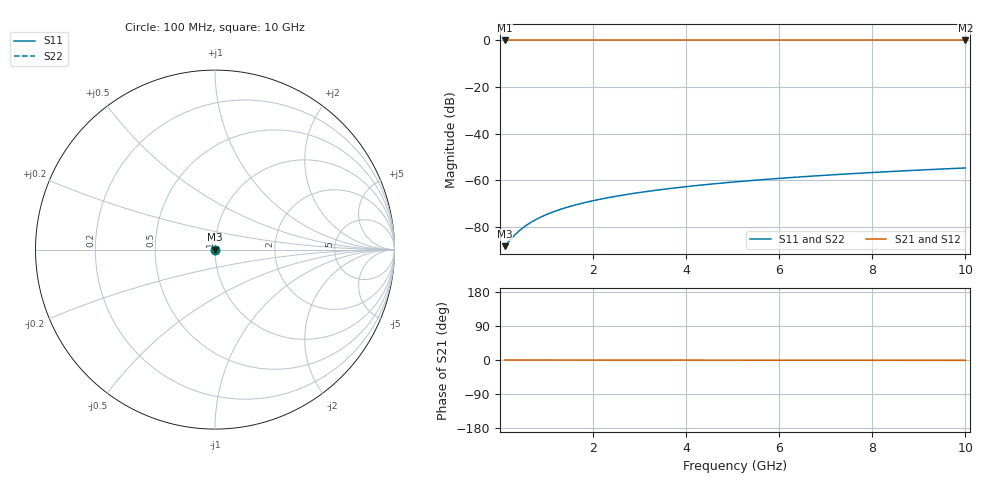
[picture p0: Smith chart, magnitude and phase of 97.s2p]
# Hz S RI R 50.00
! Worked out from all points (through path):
!   100 points, 100 MHz to 10 GHz, reference 50 ohm
!   highest |S21| = 0.00 dB at 100 MHz (marker M1); lowest = 0.0 dB at 10 GHz (marker M2)
!   lowest |S11| = -88.2 dB at 100 MHz (marker M3), VSWR 1.00, Z = 50 - j0.00182 ohm
!   |S11| at or under -10 dB: start of sweep to end of sweep
!   |S22| runs from -88.2 to -54.7 dB; largest |S21 - S12| = 0
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1e8  3.44e-05 -1.82e-05  1 -0.00014  1 -0.00014  3.44e-05 -1.82e-05
5e8  3.47e-05 -9.11e-05  1 -0.000699  1 -0.000699  3.47e-05 -9.11e-05
7e8  3.47e-05 -0.000128  1 -0.000979  1 -0.000979  3.47e-05 -0.000128
8e8  3.47e-05 -0.000146  1 -0.00112  1 -0.00112  3.47e-05 -0.000146
9e8  3.47e-05 -0.000164  1 -0.00126  1 -0.00126  3.47e-05 -0.000164
1.1e9  3.46e-05 -0.000201  1 -0.00154  1 -0.00154  3.46e-05 -0.000201
1.2e9  3.45e-05 -0.000219  1 -0.00168  1 -0.00168  3.45e-05 -0.000219
1.4e9  3.44e-05 -0.000255  1 -0.00196  1 -0.00196  3.44e-05 -0.000255
1.6e9  3.42e-05 -0.000292  1 -0.00224  1 -0.00224  3.42e-05 -0.000292
1.8e9  3.4e-05 -0.000329  1 -0.00252  1 -0.00252  3.4e-05 -0.000329
2.1e9  3.36e-05 -0.000384  1 -0.00294  1 -0.00294  3.36e-05 -0.000384
2.5e9  3.31e-05 -0.000457  1 -0.0035  1 -0.0035  3.31e-05 -0.000457
2.9e9  3.24e-05 -0.000531  1 -0.00406  1 -0.00406  3.24e-05 -0.000531
3.4e9  3.15e-05 -0.000623  0.9999 -0.00476  0.9999 -0.00476  3.15e-05 -0.000623
3.8e9  3.06e-05 -0.000697  0.9999 -0.00532  0.9999 -0.00532  3.06e-05 -0.000697
4.2e9  2.97e-05 -0.00077  0.9999 -0.00588  0.9999 -0.00588  2.97e-05 -0.00077
5.1e9  2.72e-05 -0.000937  0.9999 -0.00715  0.9999 -0.00715  2.72e-05 -0.000937
5.9e9  2.47e-05 -0.00109  0.9999 -0.00828  0.9999 -0.00828  2.47e-05 -0.00109
6.7e9  2.18e-05 -0.00123  0.9999 -0.00941  0.9999 -0.00941  2.18e-05 -0.00123
7.5e9  1.86e-05 -0.00138  0.9999 -0.0105  0.9999 -0.0105  1.86e-05 -0.00138
8.4e9  1.46e-05 -0.00155  0.9999 -0.0118  0.9999 -0.0118  1.46e-05 -0.00155
1e10  6.36e-06 -0.00185  0.9999 -0.0141  0.9999 -0.0141  6.36e-06 -0.00185
